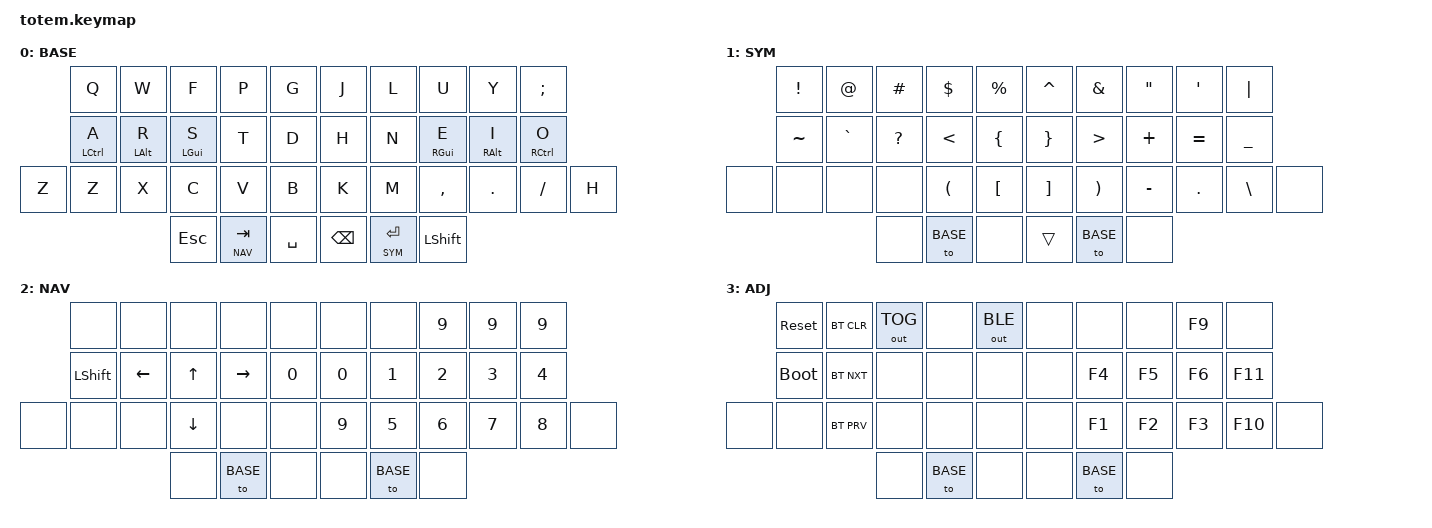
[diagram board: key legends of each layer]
//
//                                                        ▀▀▀▀▀     ▀▀▀▀▀          ▀▀█▀▀
//                                                        ▄▀▀▀▄  ▄  ▄▀▀▀▄  ▄  ▄▀▀▀▄  █  ▄▀▀▀▄
//                                                        █   █  █  █   █  █  █   █  █  █   █
//                                                         ▀▀▀   █   ▀▀▀   █   ▀▀▀   ▀   ▀▀▀
//                                                               █      ▄▄▄█▄▄▄    █   █
//                                                               ▀      █  █  █     █▄█
//                                                             ▀▀▀▀▀    █  █  █      ▀
//                                                                      ▀  ▀  ▀
//
// ▄▄▄▄▄▄▄▄▄▄▄▄▄▄▄▄▄▄▄▄▄▄▄▄▄▄▄▄▄▄▄▄▄▄▄▄▄▄▄▄▄▄▄▄▄▄▄▄▄▄▄▄▄▄▄▄▄▄▄▄▄▄▄▄▄▄▄▄▄▄▄▄▄▄▄▄▄▄▄▄▄▄▄▄▄▄▄▄▄▄▄▄▄▄▄▄▄▄▄▄▄▄▄▄▄▄▄▄▄▄▄▄▄▄▄▄▄▄▄▄▄▄▄▄▄▄▄▄▄▄▄▄▄▄▄▄▄▄▄▄▄▄▄▄▄▄▄▄▄


#include <behaviors.dtsi>
#include <dt-bindings/zmk/keys.h>
#include <dt-bindings/zmk/bt.h>
#include <dt-bindings/zmk/outputs.h>

#define BASE 0
#define SYM  1
#define NAV  2
#define ADJ  3

&mt {
  quick-tap-ms = <100>;
  global-quick-tap;
  flavor = "tap-preferred";
  tapping-term-ms = <170>;
};

/ {
    conditional_layers {
        compatible = "zmk,conditional-layers";
        tri_layer {
            if-layers = <SYM NAV>;
            then-layer = <ADJ>;
        };
    };

    behaviors {
       meh: behavior_meh {
       			compatible = "zmk,modified-key-press";
       			label = "MEH";
       			#binding-cells = <20>;
       			modifiers = MOD_GUI | MOD_LSFT | MOD_LCTL;
      };

       hyper: behavior_hyper_hyper {
             	compatible = "zmk,modified-key-press";
             	label = "HYPER";
             	#binding-cells = <31>;
             	modifiers = MOD_GUI | MOD_LSFT | MOD_LCTL |  MOD_LALT;
       };
    };

    macros {
        ten: ten {
            label = "ten";
            compatible = "zmk,behavior-macro";
            #binding-cells = <14>;
            bindings
                = <&macro_press &kp kp_N1 &kp kp_N0>
                ;
        };
    };

    keymap {
      compatible = "zmk,keymap";
// ▄▄▄▄▄▄▄▄▄▄▄▄▄▄▄▄▄▄▄▄▄▄▄▄▄▄▄▄▄▄▄▄▄▄▄▄▄▄▄▄▄▄▄▄▄▄▄▄▄▄▄▄▄▄▄▄▄▄▄▄▄▄▄▄▄▄▄▄▄▄▄▄▄▄▄▄▄▄▄▄▄▄▄▄▄▄▄▄▄▄▄▄▄▄▄▄▄▄▄▄▄▄▄▄▄▄▄▄▄▄▄▄▄▄▄▄▄▄▄▄▄▄▄▄▄▄▄▄▄▄▄▄▄▄▄▄▄▄▄▄▄▄▄▄▄▄▄▄▄

                base_layer {
// ┏━━━━━━━━━━━━━━━━━━━━━━━━━━━━━━━━━━━━━━━┓
label= "BASE"                              ;
// ┗━━━━━━━━━━━━━━━━━━━━━━━━━━━━━━━━━━━━━━━┛
//             ┏━━━━━━━━━━━┳━━━━━━━━━━━┳━━━━━━━━━━━┳━━━━━━━━━━━┳━━━━━━━━━━━┓   ┏━━━━━━━━━━━┳━━━━━━━━━━━┳━━━━━━━━━━━┳━━━━━━━━━━━┳━━━━━━━━━━━┓
//             ┃     Q     ┃     W     ┃     F     ┃     P     ┃     G     ┃   ┃     J     ┃     L     ┃     U     ┃     Y     ┃     ;     ┃
//             ┣━━━━━━━━━━━╋━━━━━━━━━━━╋━━━━━━━━━━━╋━━━━━━━━━━━╋━━━━━━━━━━━┫   ┣━━━━━━━━━━━╋━━━━━━━━━━━╋━━━━━━━━━━━╋━━━━━━━━━━━╋━━━━━━━━━━━┫
//             ┃     A/ctl ┃   R/alt   ┃   S/cmd   ┃     T     ┃     D     ┃   ┃     H     ┃     N     ┃  E/cmd    ┃  I/alt    ┃  O/ctl    ┃
// ┏━━━━━━━━━━━╋━━━━━━━━━━━╋━━━━━━━━━━━╋━━━━━━━━━━━╋━━━━━━━━━━━╋━━━━━━━━━━━┫   ┣━━━━━━━━━━━╋━━━━━━━━━━━╋━━━━━━━━━━━╋━━━━━━━━━━━╋━━━━━━━━━━━╋━━━━━━━━━━━┓
// ┃   MEH     ┃     Z     ┃     X     ┃     C     ┃     V     ┃     B     ┃   ┃     K     ┃     M     ┃     ,     ┃     .     ┃     /     ┃  HYPER    ┃
// ┗━━━━━━━━━━━┻━━━━━━━━━━━┻━━━━━━━━━━━╋━━━━━━━━━━━╋━━━━━━━━━━━╋━━━━━━━━━━━┫   ┣━━━━━━━━━━━╋━━━━━━━━━━━╋━━━━━━━━━━━╋━━━━━━━━━━━┻━━━━━━━━━━━┻━━━━━━━━━━━┛
//                                     ┃    ESC    ┃  TAB/NAV  ┃    SPC    ┃   ┃ backspace ┃  ENT/SYM  ┃  SHIFT    ┃
//                                     ┗━━━━━━━━━━━┻━━━━━━━━━━━┻━━━━━━━━━━━┛   ┗━━━━━━━━━━━┻━━━━━━━━━━━┻━━━━━━━━━━━┛
 bindings = <
// ╷           ╷           ╷           ╷           ╷           ╷           ╷   ╷           ╷           ╷           ╷           ╷           ╷           ╷

               &kp Q       &kp W       &kp F       &kp P       &kp G           &kp J       &kp L       &kp U       &kp Y       &kp SEMI
               &mt LCTRL A &mt LALT R  &mt LGUI S  &kp T       &kp D           &kp H       &kp N       &mt RGUI E  &mt RALT I  &mt RCTRL O
    &kp Z      &kp Z       &kp X       &kp C       &kp V       &kp B           &kp K       &kp M       &kp COMMA   &kp DOT     &kp FSLH     &kp H
                                       &kp ESC     &lt NAV TAB &kp SPACE       &kp BSPC    &lt SYM RET &kp LSHFT
                        >;
                };

// ▄▄▄▄▄▄▄▄▄▄▄▄▄▄▄▄▄▄▄▄▄▄▄▄▄▄▄▄▄▄▄▄▄▄▄▄▄▄▄▄▄▄▄▄▄▄▄▄▄▄▄▄▄▄▄▄▄▄▄▄▄▄▄▄▄▄▄▄▄▄▄▄▄▄▄▄▄▄▄▄▄▄▄▄▄▄▄▄▄▄▄▄▄▄▄▄▄▄▄▄▄▄▄▄▄▄▄▄▄▄▄▄▄▄▄▄▄▄▄▄▄▄▄▄▄▄▄▄▄▄▄▄▄▄▄▄▄▄▄▄▄▄▄▄▄▄▄▄▄


                sym_layer {
// ┏━━━━━━━━━━━━━━━━━━━━━━━━━━━━━━━━━━━━━━━┓
label= "SYM"                              ;
// ┗━━━━━━━━━━━━━━━━━━━━━━━━━━━━━━━━━━━━━━━┛
//             ┏━━━━━━━━━━━┳━━━━━━━━━━━┳━━━━━━━━━━━┳━━━━━━━━━━━┳━━━━━━━━━━━┓   ┏━━━━━━━━━━━┳━━━━━━━━━━━┳━━━━━━━━━━━┳━━━━━━━━━━━┳━━━━━━━━━━━┓
//             ┃      !    ┃     @     ┃     #     ┃     $     ┃     %     ┃   ┃     ^     ┃     &     ┃     "     ┃     '     ┃     |     ┃
//             ┣━━━━━━━━━━━╋━━━━━━━━━━━╋━━━━━━━━━━━╋━━━━━━━━━━━╋━━━━━━━━━━━┫   ┣━━━━━━━━━━━╋━━━━━━━━━━━╋━━━━━━━━━━━╋━━━━━━━━━━━╋━━━━━━━━━━━┫
//             ┃     ~     ┃   `       ┃     ?     ┃     <     ┃     {     ┃   ┃     }     ┃     >     ┃     +     ┃     =     ┃     _     ┃
// ┏━━━━━━━━━━━╋━━━━━━━━━━━╋━━━━━━━━━━━╋━━━━━━━━━━━╋━━━━━━━━━━━╋━━━━━━━━━━━┫   ┣━━━━━━━━━━━╋━━━━━━━━━━━╋━━━━━━━━━━━╋━━━━━━━━━━━╋━━━━━━━━━━━╋━━━━━━━━━━━┓
// ┃           ┃           ┃           ┃           ┃     (     ┃     [     ┃   ┃     ]     ┃     )     ┃     -     ┃     .     ┃     \     ┃           ┃
// ┗━━━━━━━━━━━┻━━━━━━━━━━━┻━━━━━━━━━━━╋━━━━━━━━━━━╋━━━━━━━━━━━╋━━━━━━━━━━━┫   ┣━━━━━━━━━━━╋━━━━━━━━━━━╋━━━━━━━━━━━╋━━━━━━━━━━━┻━━━━━━━━━━━┻━━━━━━━━━━━┛
//                                     ┃    ESC    ┃   BASE    ┃    SPC    ┃   ┃ backspace ┃   BASE    ┃   SHIFT   ┃
//                                     ┗━━━━━━━━━━━┻━━━━━━━━━━━┻━━━━━━━━━━━┛   ┗━━━━━━━━━━━┻━━━━━━━━━━━┻━━━━━━━━━━━┛
 bindings = <
// ╷           ╷           ╷           ╷           ╷           ╷           ╷   ╷           ╷           ╷           ╷           ╷           ╷           ╷

                &kp EXCL    &kp AT     &kp HASH     &kp DLLR    &kp PRCNT       &kp CARET   &kp AMPS    &kp DQT     &kp SQT     &kp PIPE
                &kp TILDE   &kp GRAVE  &kp QMARK    &kp LT      &kp LBRC        &kp RBRC    &kp GT      &kp PLUS    &kp EQUAL   &kp UNDER
    &none       &none       &none      &none        &kp LPAR    &kp LBKT        &kp RBKT    &kp RPAR    &kp MINUS   &kp DOT     &kp BSLH     &none
                                       &none        &to BASE    &none           &trans      &to BASE    &none
                        >;
                };

// ▄▄▄▄▄▄▄▄▄▄▄▄▄▄▄▄▄▄▄▄▄▄▄▄▄▄▄▄▄▄▄▄▄▄▄▄▄▄▄▄▄▄▄▄▄▄▄▄▄▄▄▄▄▄▄▄▄▄▄▄▄▄▄▄▄▄▄▄▄▄▄▄▄▄▄▄▄▄▄▄▄▄▄▄▄▄▄▄▄▄▄▄▄▄▄▄▄▄▄▄▄▄▄▄▄▄▄▄▄▄▄▄▄▄▄▄▄▄▄▄▄▄▄▄▄▄▄▄▄▄▄▄▄▄▄▄▄▄▄▄▄▄▄▄▄▄▄▄▄


                nav_layer {
// ┏━━━━━━━━━━━━━━━━━━━━━━━━━━━━━━━━━━━━━━━┓
label= "NAV"                              ;
// ┗━━━━━━━━━━━━━━━━━━━━━━━━━━━━━━━━━━━━━━━┛
//             ┏━━━━━━━━━━━┳━━━━━━━━━━━┳━━━━━━━━━━━┳━━━━━━━━━━━┳━━━━━━━━━━━┓   ┏━━━━━━━━━━━┳━━━━━━━━━━━┳━━━━━━━━━━━┳━━━━━━━━━━━┳━━━━━━━━━━━┓
//             ┃           ┃           ┃           ┃           ┃           ┃   ┃           ┃           ┃     9     ┃     9     ┃     9     ┃
//             ┣━━━━━━━━━━━╋━━━━━━━━━━━╋━━━━━━━━━━━╋━━━━━━━━━━━╋━━━━━━━━━━━┫   ┣━━━━━━━━━━━╋━━━━━━━━━━━╋━━━━━━━━━━━╋━━━━━━━━━━━╋━━━━━━━━━━━┫
//             ┃           ┃   LEFT    ┃    UP     ┃   RIGHT   ┃    10     ┃   ┃     0     ┃     1     ┃     2     ┃     3     ┃     4     ┃
// ┏━━━━━━━━━━━╋━━━━━━━━━━━╋━━━━━━━━━━━╋━━━━━━━━━━━╋━━━━━━━━━━━╋━━━━━━━━━━━┫   ┣━━━━━━━━━━━╋━━━━━━━━━━━╋━━━━━━━━━━━╋━━━━━━━━━━━╋━━━━━━━━━━━╋━━━━━━━━━━━┓
// ┃           ┃           ┃           ┃   DOWN    ┃           ┃           ┃   ┃     9     ┃     5     ┃     6     ┃     7     ┃     8     ┃           ┃
// ┗━━━━━━━━━━━┻━━━━━━━━━━━┻━━━━━━━━━━━╋━━━━━━━━━━━╋━━━━━━━━━━━╋━━━━━━━━━━━┫   ┣━━━━━━━━━━━╋━━━━━━━━━━━╋━━━━━━━━━━━╋━━━━━━━━━━━┻━━━━━━━━━━━┻━━━━━━━━━━━┛
//                                     ┃           ┃   BASE    ┃           ┃   ┃           ┃   BASE    ┃           ┃
//                                     ┗━━━━━━━━━━━┻━━━━━━━━━━━┻━━━━━━━━━━━┛   ┗━━━━━━━━━━━┻━━━━━━━━━━━┻━━━━━━━━━━━┛
 bindings = <
// ╷           ╷           ╷           ╷           ╷           ╷           ╷   ╷           ╷           ╷           ╷           ╷           ╷           ╷

                &none       &none       &none        &none       &none          &none       &none       &kp N9      &kp N9      &kp N9
                &kp LSHFT   &kp LEFT    &kp UP       &kp RIGHT   &kp N0         &kp N0      &kp N1      &kp N2      &kp N3      &kp N4
    &none       &none       &none       &kp DOWN     &none       &none          &kp N9      &kp N5      &kp N6      &kp N7      &kp N8      &none
                                        &none        &to BASE    &none          &none       &to BASE    &none
                        >;
                };


// ▄▄▄▄▄▄▄▄▄▄▄▄▄▄▄▄▄▄▄▄▄▄▄▄▄▄▄▄▄▄▄▄▄▄▄▄▄▄▄▄▄▄▄▄▄▄▄▄▄▄▄▄▄▄▄▄▄▄▄▄▄▄▄▄▄▄▄▄▄▄▄▄▄▄▄▄▄▄▄▄▄▄▄▄▄▄▄▄▄▄▄▄▄▄▄▄▄▄▄▄▄▄▄▄▄▄▄▄▄▄▄▄▄▄▄▄▄▄▄▄▄▄▄▄▄▄▄▄▄▄▄▄▄▄▄▄▄▄▄▄▄▄▄▄▄▄▄▄▄


                adjust_layer {
// ┏━━━━━━━━━━━━━━━━━━━━━━━━━━━━━━━━━━━━━━━┓
label= "ADJ"                               ;
// ┗━━━━━━━━━━━━━━━━━━━━━━━━━━━━━━━━━━━━━━━┛
//             ┏━━━━━━━━━━━┳━━━━━━━━━━━┳━━━━━━━━━━━┳━━━━━━━━━━━┳━━━━━━━━━━━┓   ┏━━━━━━━━━━━┳━━━━━━━━━━━┳━━━━━━━━━━━┳━━━━━━━━━━━┳━━━━━━━━━━━┓
//             ┃   RESET   ┃ BT CLEAR  ┃  BLU/USB  ┃           ┃  BLUE     ┃   ┃           ┃           ┃           ┃    F9     ┃           ┃
//             ┣━━━━━━━━━━━╋━━━━━━━━━━━╋━━━━━━━━━━━╋━━━━━━━━━━━╋━━━━━━━━━━━┫   ┣━━━━━━━━━━━╋━━━━━━━━━━━╋━━━━━━━━━━━╋━━━━━━━━━━━╋━━━━━━━━━━━┫
//             ┃ BOOTLOAD  ┃ BT NEXT   ┃           ┃           ┃           ┃   ┃           ┃    F1     ┃    F2     ┃    F3     ┃    F4     ┃
// ┏━━━━━━━━━━━╋━━━━━━━━━━━╋━━━━━━━━━━━╋━━━━━━━━━━━╋━━━━━━━━━━━╋━━━━━━━━━━━┫   ┣━━━━━━━━━━━╋━━━━━━━━━━━╋━━━━━━━━━━━╋━━━━━━━━━━━╋━━━━━━━━━━━╋━━━━━━━━━━━┓
// ┃           ┃           ┃ BT PREV   ┃           ┃           ┃           ┃   ┃           ┃    F5     ┃    F6     ┃    F7     ┃    F8     ┃           ┃
// ┗━━━━━━━━━━━┻━━━━━━━━━━━┻━━━━━━━━━━━╋━━━━━━━━━━━╋━━━━━━━━━━━╋━━━━━━━━━━━┫   ┣━━━━━━━━━━━╋━━━━━━━━━━━╋━━━━━━━━━━━╋━━━━━━━━━━━┻━━━━━━━━━━━┻━━━━━━━━━━━┛
//                                     ┃           ┃   BASE    ┃           ┃   ┃           ┃    BASE   ┃           ┃
//                                     ┗━━━━━━━━━━━┻━━━━━━━━━━━┻━━━━━━━━━━━┛   ┗━━━━━━━━━━━┻━━━━━━━━━━━┻━━━━━━━━━━━┛
 bindings = <
// ╷           ╷           ╷           ╷           ╷           ╷           ╷   ╷           ╷           ╷           ╷           ╷           ╷           ╷

                &sys_reset  &bt BT_CLR &out OUT_TOG &none       &out OUT_BLE    &none      &none       &none       &kp F9      &none
                &bootloader &bt BT_NXT  &none       &none       &none           &none      &kp F4      &kp F5      &kp F6      &kp F11
    &none       &none       &bt BT_PRV  &none       &none       &none           &none      &kp F1      &kp F2      &kp F3      &kp F10     &none
                                        &none       &to BASE    &none           &none      &to BASE    &none
                        >;
                };
        };
};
